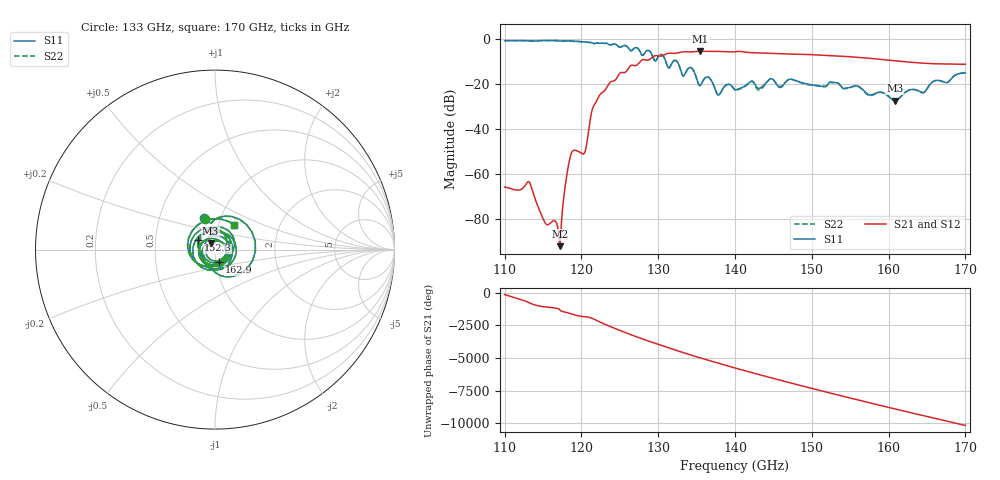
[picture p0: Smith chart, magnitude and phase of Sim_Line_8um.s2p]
! Touchstone file exported from HFSS 2020.2.4
!  File:  D:/Project/Deacon_v3/240214_MPW12_Gap_WG_Tester_D2A/Gap_WG_Tester_D2.aedt
!  Generated:  11:43:43 AM  Mar 20, 2025
!  Design:  Line
!  Project:  Gap_WG_Tester_D2
!  Setup:  Setup1
!  Solution:  Sweep
! Variables:
!  C_G = 8um
!  C_H = 0.5mm
!  Deembedding = 25.4mm
!  E_P = 133um
!  S_H1 = 260um
!  S_H2 = 0.013mm
!  S_H3 = 8um
!  S_X = 30mm
!  S_X0 = 15mm
!  S_Y = 15mm
!  S_Y0 = 7.5mm
!  TL_G = 40um
!  TL_L = 12.1467848662796mm
!  TL_W = 0.24mm
!  TR_L = 706.43026744077um
!  TR_L2 = 226.8691264263um
!  TR_L3 = 373.29154801399um
!  TR_P = 109.62537243288um
!  TR_W = 1597.2041747747um
!  TR_W2 = 282.226541747um
!  V_PBO = 20um
!  V_Pad = 40um
!  V_R = 20um
!  WG_L = 0.8255mm
!  WG_W = 1.651mm
!  th = 5um
!Data is not renormalized
# GHZ S MA
! Terminal data exported
! Port[1] = 1
! Port[2] = 2
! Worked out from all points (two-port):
!   601 points, 110 GHz to 170 GHz, reference per port
!   highest |S21| = -5.61 dB at 135.5 GHz (marker M1); lowest = -92.0 dB at 117.2 GHz (marker M2)
!   |S21| within 3 dB of the highest: 129.1 GHz to 157.1 GHz (28.03 GHz wide, 19.6 % of centre)
!   lowest |S11| = -27.5 dB at 160.8 GHz (marker M3), VSWR 1.09
!   |S11| at or under -10 dB: 131 GHz to 132 GHz (986.3 MHz wide, 0.75 % of centre); 132.4 GHz to end of sweep
!   |S22| runs from -27.4 to -0.8 dB; largest |S21 - S12| = 4.9e-14
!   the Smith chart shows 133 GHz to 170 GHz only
!   S11 on the Smith chart (normalised r, x): 133 GHz: 0.84, +0.30; 152.3 GHz: 0.83, +0.09; 162.9 GHz: 1.04, -0.15; 170 GHz: 1.19, +0.34
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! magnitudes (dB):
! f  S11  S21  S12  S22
! 110 GHz  -0.9  -65.9  -65.9  -0.9
! 113.1 GHz  -1.0  -63.4  -63.4  -1.0
! 115 GHz  -0.9  -79.8  -79.8  -0.9
! 117.2 GHz  -1.0  -92.0  -92.0  -0.9
! 118.6 GHz  -1.0  -51.7  -51.7  -1.1
! 120 GHz  -1.3  -50.8  -50.8  -1.4
! 120.5 GHz  -1.5  -49.9  -49.9  -1.5
! 121.5 GHz  -2.0  -30.6  -30.6  -2.2
! 122.5 GHz  -2.1  -24.5  -24.5  -2.0
! 126.4 GHz  -5.3  -12.0  -12.0  -5.3
! 130 GHz  -8.0  -7.7  -7.7  -8.0
! 133 GHz  -14.6  -6.0  -6.0  -14.8
! 134.3 GHz  -12.9  -5.9  -5.9  -13.0
! 135.5 GHz  -20.8  -5.6  -5.6  -20.5
! 140 GHz  -22.8  -5.9  -5.9  -23.0
! 144.7 GHz  -17.8  -6.5  -6.5  -17.7
! 150 GHz  -20.5  -7.1  -7.1  -20.7
! 152.3 GHz  -19.5  -7.5  -7.5  -19.3
! 160 GHz  -25.6  -9.5  -9.5  -25.6
! 160.8 GHz  -27.5  -9.8  -9.8  -27.4
! 162.9 GHz  -22.6  -10.5  -10.5  -22.6
! 170 GHz  -15.2  -11.3  -11.3  -15.1
